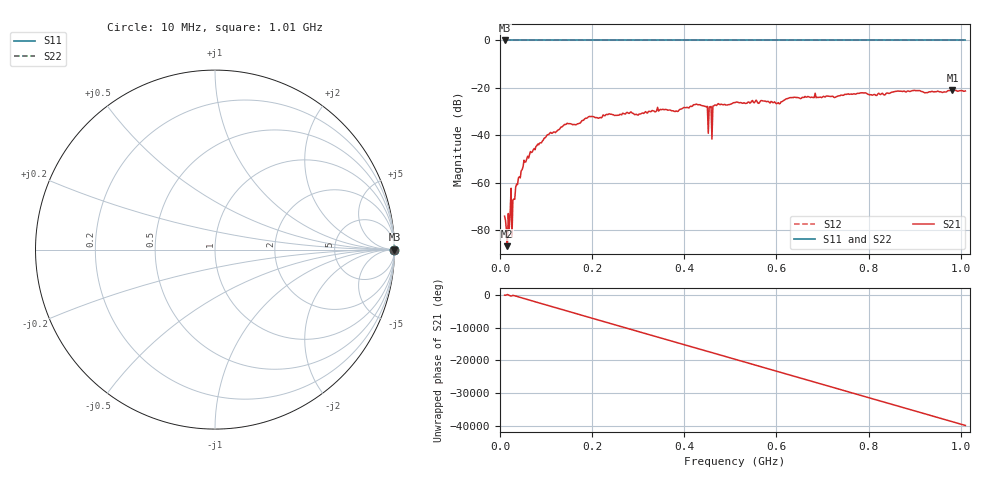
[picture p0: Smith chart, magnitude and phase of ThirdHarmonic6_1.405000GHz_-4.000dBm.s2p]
! 8/16/2025 4:04:38 PM
! C:\ANRITSUVNA\TEMP\TEMP.S2P
! CHANNEL.1
! TR.MEASUREMENT
! RAW.DATA
! RF.CORRECTION.OFF
! AVERAGING.OFF
! IF.BANDWIDTH: 5KHZ
! SWEEPTYPE:  FREQ.SWEEP(Linear)
! Reference Plane Port Info
! PORT:  PORT1  PORT2
! DISTANCE:  0  m  0  m
! TIME:  0  s  0  s
! PHASE.OFFSET:  0  deg.  0  deg.
! LOSS:  0  dB  0  dB
! REF.LOSS:  0  dB  0  dB
! REF.FREQ:  0  Hz  0  Hz
! Power Info
! POWER:  -20  dBm  -20  dBm
! EFF.POWER:  -20  dBm  -20  dBm
! SOURCE.ATTEN:  0  dB  0  dB
! TEST.ATTEN:  0  dB  0  dB
# GHZ S RI R 50.0
! FREQ.GHZ  S11RE  S11IM  S21RE  S21IM  S12RE  S12IM  S22RE  S22IM
!; PortSelection: Port_12
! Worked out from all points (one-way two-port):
!   501 points, 10 MHz to 1.01 GHz, reference 50 ohm
!   highest |S21| = -20.93 dB at 982 MHz (marker M1); lowest = -86.9 dB at 16 MHz (marker M2)
!   lowest |S11| = 0.0 dB at 10 MHz (marker M3)
!   |S11| at or under -10 dB: nowhere
!   |S22| runs from 0.0 to 0.0 dB; largest |S21 - S12| = 1.1
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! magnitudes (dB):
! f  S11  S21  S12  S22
! 10 MHz  0.0  -74.2  0.0  0.0
! 16 MHz  0.0  -86.9  0.0  0.0
! 30 MHz  0.0  -67.0  0.0  0.0
! 32 MHz  0.0  -67.1  0.0  0.0
! 38 MHz  0.0  -60.9  0.0  0.0
! 64 MHz  0.0  -48.3  0.0  0.0
! 106 MHz  0.0  -39.7  0.0  0.0
! 178 MHz  0.0  -33.9  0.0  0.0
! 344 MHz  0.0  -29.8  0.0  0.0
! 382 MHz  0.0  -29.8  0.0  0.0
! 430 MHz  0.0  -27.1  0.0  0.0
! 446 MHz  0.0  -27.9  0.0  0.0
! 448 MHz  0.0  -28.0  0.0  0.0
! 454 MHz  0.0  -28.0  0.0  0.0
! 456 MHz  0.0  -28.1  0.0  0.0
! 464 MHz  0.0  -27.6  0.0  0.0
! 466 MHz  0.0  -27.2  0.0  0.0
! 510 MHz  0.0  -26.2  0.0  0.0
! 678 MHz  0.0  -24.1  0.0  0.0
! 844 MHz  0.0  -22.4  0.0  0.0
! 982 MHz  0.0  -20.9  0.0  0.0
! 1.01 GHz  0.0  -21.3  0.0  0.0
